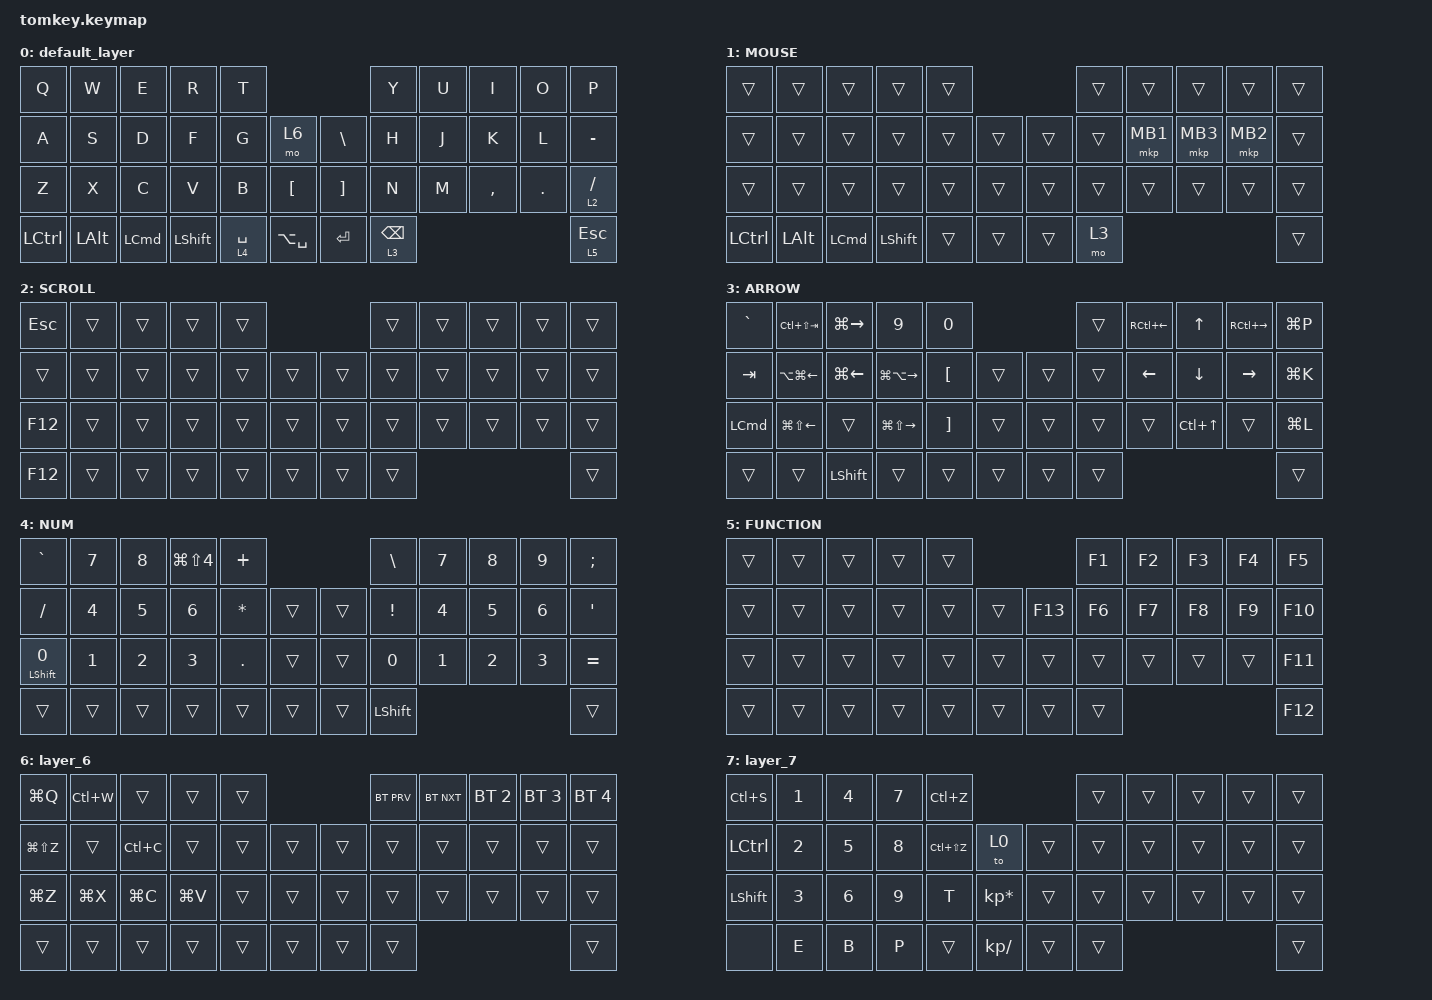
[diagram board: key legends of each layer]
#include <behaviors.dtsi>
#include <dt-bindings/zmk/bt.h>
#include <dt-bindings/zmk/keys.h>
#include <dt-bindings/zmk/pointing.h>

/ {
    combos {
        compatible = "zmk,combos";

        to_layer7 {
            bindings = <&tog 7>;
            key-positions = <33 10>;
        };
    };

    keymap {
        compatible = "zmk,keymap";

        default_layer {
            bindings = <
&kp Q      &kp W         &kp E             &kp R           &kp T                                                 &kp Y            &kp U  &kp I      &kp O    &kp P
&kp A      &kp S         &kp D             &kp F           &kp G        &mo 6                 &kp BACKSLASH      &kp H            &kp J  &kp K      &kp L    &kp MINUS
&kp Z      &kp X         &kp C             &kp V           &kp B        &kp LEFT_BRACKET      &kp RIGHT_BRACKET  &kp N            &kp M  &kp COMMA  &kp DOT  &lt 2 SLASH
&kp LCTRL  &kp LEFT_ALT  &kp LEFT_COMMAND  &kp LEFT_SHIFT  &lt 4 SPACE  &kp LA(SPACE)         &kp ENTER          &lt 3 BACKSPACE                             &lt 5 ESCAPE
            >;
        };

        MOUSE {
            bindings = <
&trans     &trans        &trans            &trans          &trans                      &trans  &trans    &trans    &trans    &trans
&trans     &trans        &trans            &trans          &trans  &trans      &trans  &trans  &mkp MB1  &mkp MB3  &mkp MB2  &trans
&trans     &trans        &trans            &trans          &trans  &trans      &trans  &trans  &trans    &trans    &trans    &trans
&kp LCTRL  &kp LEFT_ALT  &kp LEFT_COMMAND  &kp LEFT_SHIFT  &trans  &trans      &trans  &mo 3                                 &trans
            >;
        };

        SCROLL {
            bindings = <
&kp ESCAPE  &trans  &trans  &trans  &trans                      &trans  &trans  &trans  &trans  &trans
&trans      &trans  &trans  &trans  &trans  &trans      &trans  &trans  &trans  &trans  &trans  &trans
&kp F12     &trans  &trans  &trans  &trans  &trans      &trans  &trans  &trans  &trans  &trans  &trans
&kp F12     &trans  &trans  &trans  &trans  &trans      &trans  &trans                          &trans
            >;
        };

        ARROW {
            bindings = <
&kp GRAVE  &kp LC(LS(TAB))         &kp LG(RIGHT)   &kp NUMBER_9             &kp NUMBER_0                           &trans  &kp RC(LEFT_ARROW)  &kp UP_ARROW      &kp RC(RIGHT_ARROW)  &kp LG(P)
&kp TAB    &kp LA(LG(LEFT_ARROW))  &kp LG(LEFT)    &kp LG(LA(RIGHT_ARROW))  &kp LEFT_BRACKET   &trans      &trans  &trans  &kp LEFT_ARROW      &kp DOWN_ARROW    &kp RIGHT_ARROW      &kp LG(K)
&kp LCMD   &kp LG(LS(LEFT_ARROW))  &trans          &kp LG(LS(RIGHT_ARROW))  &kp RIGHT_BRACKET  &trans      &trans  &trans  &trans              &kp LC(UP_ARROW)  &trans               &kp LG(L)
&trans     &trans                  &kp LEFT_SHIFT  &trans                   &trans             &trans      &trans  &trans                                                             &trans
            >;
        };

        NUM {
            bindings = <
&kp GRAVE                &kp NUMBER_7  &kp NUMBER_8  &kp LG(LS(NUMBER_4))  &kp PLUS                          &kp BACKSLASH    &kp NUMBER_7  &kp NUMBER_8  &kp NUMBER_9  &kp SEMICOLON
&kp SLASH                &kp NUMBER_4  &kp NUMBER_5  &kp NUMBER_6          &kp ASTERISK  &trans      &trans  &kp EXCLAMATION  &kp NUMBER_4  &kp NUMBER_5  &kp NUMBER_6  &kp SQT
&mt LEFT_SHIFT NUMBER_0  &kp NUMBER_1  &kp NUMBER_2  &kp NUMBER_3          &kp PERIOD    &trans      &trans  &kp NUMBER_0     &kp NUMBER_1  &kp NUMBER_2  &kp NUMBER_3  &kp EQUAL
&trans                   &trans        &trans        &trans                &trans        &trans      &trans  &kp LEFT_SHIFT                                             &trans
            >;
        };

        FUNCTION {
            bindings = <
&trans  &trans  &trans  &trans  &trans                       &kp F1  &kp F2  &kp F3  &kp F4  &kp F5
&trans  &trans  &trans  &trans  &trans  &trans      &kp F13  &kp F6  &kp F7  &kp F8  &kp F9  &kp F10
&trans  &trans  &trans  &trans  &trans  &trans      &trans   &trans  &trans  &trans  &trans  &kp F11
&trans  &trans  &trans  &trans  &trans  &trans      &trans   &trans                          &kp F12
            >;
        };

        layer_6 {
            bindings = <
&kp LG(Q)      &kp LC(W)  &trans     &trans     &trans                      &bt BT_PRV  &bt BT_NXT  &bt BT_SEL 2  &bt BT_SEL 3  &bt BT_SEL 4
&kp LG(LS(Z))  &trans     &kp LC(C)  &trans     &trans  &trans      &trans  &trans      &trans      &trans        &trans        &trans
&kp LG(Z)      &kp LG(X)  &kp LG(C)  &kp LG(V)  &trans  &trans      &trans  &trans      &trans      &trans        &trans        &trans
&trans         &trans     &trans     &trans     &trans  &trans      &trans  &trans                                              &trans
            >;
        };

        layer_7 {
            bindings = <
&kp LC(S)   &kp N1  &kp N4  &kp N7  &kp LC(Z)                                   &trans  &trans  &trans  &trans  &trans
&kp LCTRL   &kp N2  &kp N5  &kp N8  &kp LC(LS(Z))  &to 0                &trans  &trans  &trans  &trans  &trans  &trans
&kp LSHIFT  &kp N3  &kp N6  &kp N9  &kp T          &kp KP_MULTIPLY      &trans  &trans  &trans  &trans  &trans  &trans
&none       &kp E   &kp B   &kp P   &trans         &kp KP_DIVIDE        &trans  &trans                          &trans
            >;
        };
    };
};
